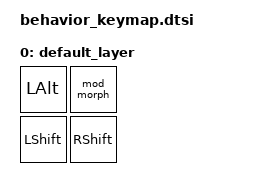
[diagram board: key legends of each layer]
/ {
    behaviors {
        mod_morph: mod_morph {
            compatible = "zmk,behavior-mod-morph";
            #binding-cells = <0>;
            bindings = <&kp A>, <&kp B>;
            mods = <(MOD_LSFT|MOD_RSFT)>;
        };
    };

    keymap {
        compatible = "zmk,keymap";

        default_layer {
            bindings = <
                &kp LEFT_ALT &mod_morph
                &kp LEFT_SHIFT &kp RIGHT_SHIFT
            >;
        };
    };
};
